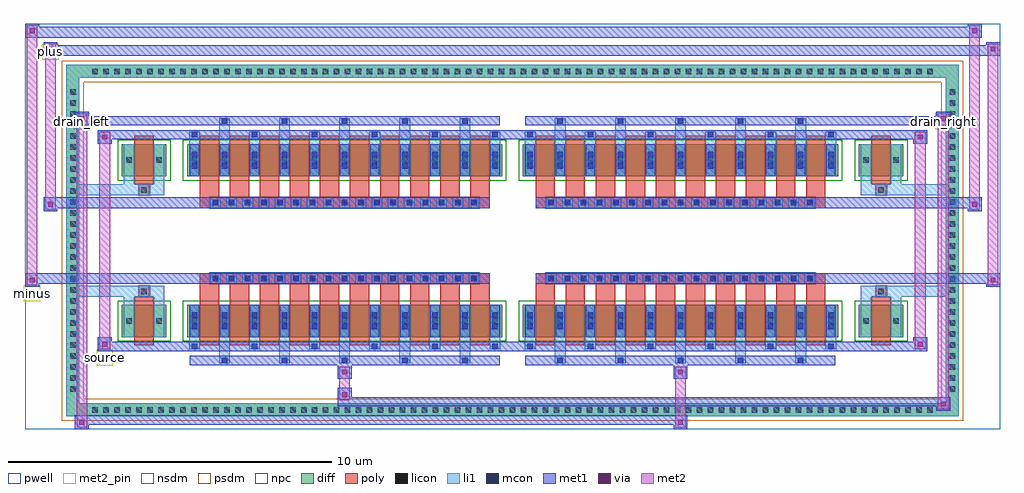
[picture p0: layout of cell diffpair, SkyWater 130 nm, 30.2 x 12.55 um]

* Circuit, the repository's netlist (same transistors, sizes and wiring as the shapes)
* NGSPICE file created from diffpair.ext - technology: sky130A

.subckt diffpair minus drain_right drain_left source plus
X0 drain_left plus source a_n2762_n1088# sky130_fd_pr__nfet_01v8 ad=0.165 pd=1.33 as=0.39 ps=2.78 w=1 l=0.6
X1 a_n2762_n1088# a_n2762_n1088# a_n2762_n1088# a_n2762_n1088# sky130_fd_pr__nfet_01v8 ad=0.39 pd=2.78 as=3.12 ps=22.24 w=1 l=0.6
X2 drain_left plus source a_n2762_n1088# sky130_fd_pr__nfet_01v8 ad=0.165 pd=1.33 as=0.165 ps=1.33 w=1 l=0.6
X3 source plus drain_left a_n2762_n1088# sky130_fd_pr__nfet_01v8 ad=0.165 pd=1.33 as=0.165 ps=1.33 w=1 l=0.6
X4 drain_left plus source a_n2762_n1088# sky130_fd_pr__nfet_01v8 ad=0.165 pd=1.33 as=0.165 ps=1.33 w=1 l=0.6
X5 source minus drain_right a_n2762_n1088# sky130_fd_pr__nfet_01v8 ad=0.39 pd=2.78 as=0.165 ps=1.33 w=1 l=0.6
X6 source plus drain_left a_n2762_n1088# sky130_fd_pr__nfet_01v8 ad=0.165 pd=1.33 as=0.165 ps=1.33 w=1 l=0.6
X7 source plus drain_left a_n2762_n1088# sky130_fd_pr__nfet_01v8 ad=0.165 pd=1.33 as=0.165 ps=1.33 w=1 l=0.6
X8 drain_right minus source a_n2762_n1088# sky130_fd_pr__nfet_01v8 ad=0.165 pd=1.33 as=0.165 ps=1.33 w=1 l=0.6
X9 drain_left plus source a_n2762_n1088# sky130_fd_pr__nfet_01v8 ad=0.165 pd=1.33 as=0.165 ps=1.33 w=1 l=0.6
X10 source minus drain_right a_n2762_n1088# sky130_fd_pr__nfet_01v8 ad=0.165 pd=1.33 as=0.165 ps=1.33 w=1 l=0.6
X11 drain_right minus source a_n2762_n1088# sky130_fd_pr__nfet_01v8 ad=0.165 pd=1.33 as=0.165 ps=1.33 w=1 l=0.6
X12 drain_right minus source a_n2762_n1088# sky130_fd_pr__nfet_01v8 ad=0.165 pd=1.33 as=0.165 ps=1.33 w=1 l=0.6
X13 drain_right minus source a_n2762_n1088# sky130_fd_pr__nfet_01v8 ad=0.165 pd=1.33 as=0.165 ps=1.33 w=1 l=0.6
X14 source minus drain_right a_n2762_n1088# sky130_fd_pr__nfet_01v8 ad=0.165 pd=1.33 as=0.165 ps=1.33 w=1 l=0.6
X15 source minus drain_right a_n2762_n1088# sky130_fd_pr__nfet_01v8 ad=0.165 pd=1.33 as=0.165 ps=1.33 w=1 l=0.6
X16 source plus drain_left a_n2762_n1088# sky130_fd_pr__nfet_01v8 ad=0.39 pd=2.78 as=0.165 ps=1.33 w=1 l=0.6
X17 a_n2762_n1088# a_n2762_n1088# a_n2762_n1088# a_n2762_n1088# sky130_fd_pr__nfet_01v8 ad=0.39 pd=2.78 as=0 ps=0 w=1 l=0.6
X18 a_n2762_n1088# a_n2762_n1088# a_n2762_n1088# a_n2762_n1088# sky130_fd_pr__nfet_01v8 ad=0.39 pd=2.78 as=0 ps=0 w=1 l=0.6
X19 source minus drain_right a_n2762_n1088# sky130_fd_pr__nfet_01v8 ad=0.165 pd=1.33 as=0.165 ps=1.33 w=1 l=0.6
X20 drain_right minus source a_n2762_n1088# sky130_fd_pr__nfet_01v8 ad=0.165 pd=1.33 as=0.165 ps=1.33 w=1 l=0.6
X21 source plus drain_left a_n2762_n1088# sky130_fd_pr__nfet_01v8 ad=0.165 pd=1.33 as=0.165 ps=1.33 w=1 l=0.6
X22 source plus drain_left a_n2762_n1088# sky130_fd_pr__nfet_01v8 ad=0.165 pd=1.33 as=0.165 ps=1.33 w=1 l=0.6
X23 source minus drain_right a_n2762_n1088# sky130_fd_pr__nfet_01v8 ad=0.165 pd=1.33 as=0.165 ps=1.33 w=1 l=0.6
X24 drain_right minus source a_n2762_n1088# sky130_fd_pr__nfet_01v8 ad=0.165 pd=1.33 as=0.165 ps=1.33 w=1 l=0.6
X25 drain_left plus source a_n2762_n1088# sky130_fd_pr__nfet_01v8 ad=0.165 pd=1.33 as=0.39 ps=2.78 w=1 l=0.6
X26 drain_left plus source a_n2762_n1088# sky130_fd_pr__nfet_01v8 ad=0.165 pd=1.33 as=0.165 ps=1.33 w=1 l=0.6
X27 source minus drain_right a_n2762_n1088# sky130_fd_pr__nfet_01v8 ad=0.165 pd=1.33 as=0.165 ps=1.33 w=1 l=0.6
X28 drain_left plus source a_n2762_n1088# sky130_fd_pr__nfet_01v8 ad=0.165 pd=1.33 as=0.165 ps=1.33 w=1 l=0.6
X29 source plus drain_left a_n2762_n1088# sky130_fd_pr__nfet_01v8 ad=0.165 pd=1.33 as=0.165 ps=1.33 w=1 l=0.6
X30 drain_right minus source a_n2762_n1088# sky130_fd_pr__nfet_01v8 ad=0.165 pd=1.33 as=0.39 ps=2.78 w=1 l=0.6
X31 drain_right minus source a_n2762_n1088# sky130_fd_pr__nfet_01v8 ad=0.165 pd=1.33 as=0.39 ps=2.78 w=1 l=0.6
X32 drain_left plus source a_n2762_n1088# sky130_fd_pr__nfet_01v8 ad=0.165 pd=1.33 as=0.165 ps=1.33 w=1 l=0.6
X33 drain_left plus source a_n2762_n1088# sky130_fd_pr__nfet_01v8 ad=0.165 pd=1.33 as=0.165 ps=1.33 w=1 l=0.6
X34 source plus drain_left a_n2762_n1088# sky130_fd_pr__nfet_01v8 ad=0.39 pd=2.78 as=0.165 ps=1.33 w=1 l=0.6
X35 source minus drain_right a_n2762_n1088# sky130_fd_pr__nfet_01v8 ad=0.165 pd=1.33 as=0.165 ps=1.33 w=1 l=0.6
X36 source plus drain_left a_n2762_n1088# sky130_fd_pr__nfet_01v8 ad=0.165 pd=1.33 as=0.165 ps=1.33 w=1 l=0.6
X37 source minus drain_right a_n2762_n1088# sky130_fd_pr__nfet_01v8 ad=0.165 pd=1.33 as=0.165 ps=1.33 w=1 l=0.6
X38 drain_right minus source a_n2762_n1088# sky130_fd_pr__nfet_01v8 ad=0.165 pd=1.33 as=0.165 ps=1.33 w=1 l=0.6
X39 source plus drain_left a_n2762_n1088# sky130_fd_pr__nfet_01v8 ad=0.165 pd=1.33 as=0.165 ps=1.33 w=1 l=0.6
X40 drain_right minus source a_n2762_n1088# sky130_fd_pr__nfet_01v8 ad=0.165 pd=1.33 as=0.165 ps=1.33 w=1 l=0.6
X41 source minus drain_right a_n2762_n1088# sky130_fd_pr__nfet_01v8 ad=0.39 pd=2.78 as=0.165 ps=1.33 w=1 l=0.6
X42 a_n2762_n1088# a_n2762_n1088# a_n2762_n1088# a_n2762_n1088# sky130_fd_pr__nfet_01v8 ad=0.39 pd=2.78 as=0 ps=0 w=1 l=0.6
X43 drain_left plus source a_n2762_n1088# sky130_fd_pr__nfet_01v8 ad=0.165 pd=1.33 as=0.165 ps=1.33 w=1 l=0.6
.ends

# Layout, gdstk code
import gdstk
lib = gdstk.Library(unit=1e-6, precision=5e-09)
def R(c, l, rs):  # rectangles x0, y0, x1, y1
    for r in rs: c.add(gdstk.rectangle(r[:2], r[2:], *l))
def A(c, l, x, y, w, h, nx, ny, dx, dy):  # array of equal rectangles
    R(c, l, [(x+i*dx, y+j*dy, x+i*dx+w, y+j*dy+h) for i in range(nx) for j in range(ny)])
def P(c, l, *ps):  # polygons
    for p in ps: c.add(gdstk.Polygon(p, *l))
pwell = (64, 44)
diff = (65, 20)
poly = (66, 20)
licon = (66, 44)
li1 = (67, 20)
mcon = (67, 44)
met1 = (68, 20)
via = (68, 44)
met2_pin = (69, 16)
met2 = (69, 20)
nsdm = (93, 44)
psdm = (94, 20)
npc = (95, 20)

diffpair = lib.new_cell('diffpair')
R(diffpair, pwell, [(-15.08,-5.84,15.08,6.71), (-12.4,-4.03,-0.01,-0.805), (0.01,-4.03,12.4,-0.805), (-12.4,0.805,-0.01,4.03), (0.01,0.805,12.4,4.03)])
A(diffpair, diff, -13.125, -5.44, 0.41, 0.41, 77, 2, 0.34, 10.47)
A(diffpair, diff, -13.81, -4.795, 0.41, 0.41, 1, 28, 0, 0.34)
A(diffpair, diff, 13.4, -4.795, 0.41, 0.41, 1, 28, 0, 0.34)
R(diffpair, diff, [(-13.125,-5.44,13.125,-5.03), (-13.81,-4.795,-13.4,4.795), (13.4,-4.795,13.81,4.795), (-12.09,-2.985,-10.71,-1.985), (-10.07,-2.985,-0.32,-1.985), (0.32,-2.985,10.07,-1.985), (10.71,-2.985,12.09,-1.985), (-12.09,1.985,-10.71,2.985), (-10.07,1.985,-0.32,2.985), (0.32,1.985,10.07,2.985), (10.71,1.985,12.09,2.985), (-13.125,5.03,13.125,5.44)])
P(diffpair, diff, [(13.81,5.44),(-13.81,5.44),(-13.81,-5.03),(-13.4,-5.03),(-13.4,5.03),(13.4,5.03),(13.4,-5.03),(-13.4,-5.03),(-13.81,-5.03),(-13.81,-5.44),(13.81,-5.44)])
A(diffpair, poly, -9.68, -3.235, 0.6, 1.5, 10, 2, 0.93, 4.97)
A(diffpair, poly, 0.71, -3.235, 0.6, 1.5, 10, 2, 0.93, 4.97)
A(diffpair, poly, -9.68, -1.735, 0.6, 0.4, 10, 2, 0.93, 3.07)
A(diffpair, poly, 0.71, -1.735, 0.6, 0.4, 10, 2, 0.93, 3.07)
A(diffpair, poly, -9.36, -1.335, 0.33, 0.33, 17, 2, 0.5, 2.34)
A(diffpair, poly, 1.03, -1.335, 0.33, 0.33, 17, 2, 0.5, 2.34)
R(diffpair, poly, [(-11.7,-3.235,-11.1,-1.735), (11.1,-3.235,11.7,-1.735), (-11.565,-1.735,-11.235,-1.405), (-11.565,-1.735,-11.235,-1.405), (11.235,-1.735,11.565,-1.405), (11.235,-1.735,11.565,-1.405), (-9.68,-1.335,-0.71,-1.005), (0.71,-1.335,9.68,-1.005), (-9.68,1.005,-0.71,1.335), (0.71,1.005,9.68,1.335), (-11.565,1.405,-11.235,1.735), (-11.565,1.405,-11.235,1.735), (11.235,1.405,11.565,1.735), (11.235,1.405,11.565,1.735), (-11.7,1.735,-11.1,3.235), (11.1,1.735,11.7,3.235)])
A(diffpair, licon, -13.005, -5.32, 0.17, 0.17, 77, 2, 0.34, 10.47)
A(diffpair, licon, -13.69, -4.675, 0.17, 0.17, 1, 28, 0, 0.34)
A(diffpair, licon, 13.52, -4.675, 0.17, 0.17, 1, 28, 0, 0.34)
A(diffpair, licon, -9.93, -2.57, 0.17, 0.17, 11, 2, 0.93, 4.97)
A(diffpair, licon, 0.46, -2.57, 0.17, 0.17, 11, 2, 0.93, 4.97)
A(diffpair, licon, -9.28, -1.255, 0.17, 0.17, 17, 2, 0.5, 2.34)
A(diffpair, licon, 1.11, -1.255, 0.17, 0.17, 17, 2, 0.5, 2.34)
R(diffpair, licon, [(-11.95,-2.57,-11.78,-2.4), (-11.02,-2.57,-10.85,-2.4), (10.85,-2.57,11.02,-2.4), (11.78,-2.57,11.95,-2.4), (-11.485,-1.655,-11.315,-1.485), (11.315,-1.655,11.485,-1.485), (-11.485,1.485,-11.315,1.655), (11.315,1.485,11.485,1.655), (-11.95,2.4,-11.78,2.57), (-11.02,2.4,-10.85,2.57), (10.85,2.4,11.02,2.57), (11.78,2.4,11.95,2.57)])
A(diffpair, li1, -13.085, -5.4, 0.33, 0.33, 77, 2, 0.34, 10.47)
A(diffpair, li1, -13.77, -4.755, 0.33, 0.33, 1, 28, 0, 0.34)
A(diffpair, li1, 13.44, -4.755, 0.33, 0.33, 1, 28, 0, 0.34)
A(diffpair, li1, -9.08, -3.79, 0.33, 0.805, 5, 2, 1.86, 6.775)
A(diffpair, li1, -9, -3.79, 0.17, 0.17, 5, 2, 1.86, 7.41)
A(diffpair, li1, 1.31, -3.79, 0.33, 0.805, 5, 2, 1.86, 6.775)
A(diffpair, li1, 1.39, -3.79, 0.17, 0.17, 5, 2, 1.86, 7.41)
A(diffpair, li1, -10.01, -3.36, 0.33, 0.375, 6, 2, 1.86, 6.345)
A(diffpair, li1, -9.93, -3.36, 0.17, 0.17, 6, 2, 1.86, 6.55)
A(diffpair, li1, 0.38, -3.36, 0.33, 0.375, 6, 2, 1.86, 6.345)
A(diffpair, li1, 0.46, -3.36, 0.17, 0.17, 6, 2, 1.86, 6.55)
A(diffpair, li1, -10.01, -2.985, 0.33, 1, 11, 2, 0.93, 4.97)
A(diffpair, li1, 0.38, -2.985, 0.33, 1, 11, 2, 0.93, 4.97)
A(diffpair, li1, -9.93, -2.75, 0.17, 0.17, 11, 2, 0.93, 0.36)
A(diffpair, li1, -9.93, -2.75, 0.17, 0.53, 11, 2, 0.93, 4.97)
A(diffpair, li1, 0.46, -2.75, 0.17, 0.17, 11, 2, 0.93, 0.36)
A(diffpair, li1, 0.46, -2.75, 0.17, 0.53, 11, 2, 0.93, 4.97)
A(diffpair, li1, -10.01, -2.65, 0.33, 0.33, 11, 2, 0.93, 4.97)
A(diffpair, li1, 0.38, -2.65, 0.33, 0.33, 11, 2, 0.93, 4.97)
A(diffpair, li1, -9.36, -1.335, 0.33, 0.33, 17, 2, 0.5, 2.34)
A(diffpair, li1, 1.03, -1.335, 0.33, 0.33, 17, 2, 0.5, 2.34)
A(diffpair, li1, -9.93, 2.22, 0.17, 0.17, 11, 2, 0.93, 0.36)
A(diffpair, li1, 0.46, 2.22, 0.17, 0.17, 11, 2, 0.93, 0.36)
R(diffpair, li1, [(-13.81,-5.44,-13.4,-5.03), (-13.81,-5.44,-13.4,-5.03), (-13.4,-5.44,13.4,-5.03), (13.4,-5.44,13.81,-5.03), (13.4,-5.44,13.81,-5.03), (-13.81,-5.03,-13.4,5.03), (13.4,-5.03,13.81,5.03), (-12.03,-2.985,-11.7,-1.985), (-11.1,-2.985,-10.77,-1.985), (10.77,-2.985,11.1,-1.985), (11.7,-2.985,12.03,-1.985), (-12.03,-2.65,-11.7,-2.32), (-11.1,-2.65,-10.77,-2.32), (10.77,-2.65,11.1,-2.32), (11.7,-2.65,12.03,-2.32), (-12.03,-1.985,-11.7,-1.405), (-11.1,-1.985,-10.77,-1.405), (10.77,-1.985,11.1,-1.405), (11.7,-1.985,12.03,-1.405), (-13.81,-1.735,-11.565,-1.405), (-12.03,-1.735,-11.565,-1.405), (-11.565,-1.735,-11.235,-1.405), (-11.235,-1.735,-10.77,-1.405), (10.77,-1.735,11.235,-1.405), (11.235,-1.735,11.565,-1.405), (11.235,-1.735,13.81,-1.405), (11.565,-1.735,12.03,-1.405), (-13.81,1.405,-11.565,1.735), (-12.03,1.405,-11.565,1.735), (-12.03,1.405,-11.7,1.985), (-11.565,1.405,-11.235,1.735), (-11.235,1.405,-10.77,1.735), (-11.1,1.405,-10.77,1.985), (10.77,1.405,11.235,1.735), (10.77,1.405,11.1,1.985), (11.235,1.405,11.565,1.735), (11.235,1.405,13.81,1.735), (11.565,1.405,12.03,1.735), (11.7,1.405,12.03,1.985), (-12.03,1.985,-11.7,2.985), (-11.1,1.985,-10.77,2.985), (10.77,1.985,11.1,2.985), (11.7,1.985,12.03,2.985), (-12.03,2.32,-11.7,2.65), (-11.1,2.32,-10.77,2.65), (10.77,2.32,11.1,2.65), (11.7,2.32,12.03,2.65), (-13.81,5.03,-13.4,5.44), (-13.81,5.03,-13.4,5.44), (-13.4,5.03,13.4,5.44), (13.4,5.03,13.81,5.44), (13.4,5.03,13.81,5.44)])
A(diffpair, mcon, -9, -3.79, 0.17, 0.17, 5, 2, 1.86, 7.41)
A(diffpair, mcon, 1.39, -3.79, 0.17, 0.17, 5, 2, 1.86, 7.41)
A(diffpair, mcon, -9.93, -3.36, 0.17, 0.17, 6, 2, 1.86, 6.55)
A(diffpair, mcon, 0.46, -3.36, 0.17, 0.17, 6, 2, 1.86, 6.55)
A(diffpair, mcon, -9.93, -2.75, 0.17, 0.17, 11, 2, 0.93, 0.36)
A(diffpair, mcon, 0.46, -2.75, 0.17, 0.17, 11, 2, 0.93, 0.36)
A(diffpair, mcon, -9.28, -1.255, 0.17, 0.17, 17, 2, 0.5, 2.34)
A(diffpair, mcon, 1.11, -1.255, 0.17, 0.17, 17, 2, 0.5, 2.34)
A(diffpair, mcon, -9.93, 2.22, 0.17, 0.17, 11, 2, 0.93, 0.36)
A(diffpair, mcon, 0.46, 2.22, 0.17, 0.17, 11, 2, 0.93, 0.36)
A(diffpair, met1, -9.06, -3.85, 0.29, 0.29, 5, 2, 1.86, 7.41)
A(diffpair, met1, 1.33, -3.85, 0.29, 0.29, 5, 2, 1.86, 7.41)
A(diffpair, met1, -9.99, -3.42, 0.29, 0.29, 6, 2, 1.86, 6.55)
A(diffpair, met1, 0.4, -3.42, 0.29, 0.29, 6, 2, 1.86, 6.55)
A(diffpair, met1, -9.99, -2.985, 0.29, 1, 11, 2, 0.93, 4.97)
A(diffpair, met1, 0.4, -2.985, 0.29, 1, 11, 2, 0.93, 4.97)
A(diffpair, met1, -9.99, -2.81, 0.29, 0.29, 11, 2, 0.93, 0.36)
A(diffpair, met1, 0.4, -2.81, 0.29, 0.29, 11, 2, 0.93, 0.36)
A(diffpair, met1, -9.34, -1.315, 0.29, 0.29, 17, 2, 0.5, 2.34)
A(diffpair, met1, 1.05, -1.315, 0.29, 0.29, 17, 2, 0.5, 2.34)
A(diffpair, met1, -9.99, 2.16, 0.29, 0.29, 11, 2, 0.93, 0.36)
A(diffpair, met1, 0.4, 2.16, 0.29, 0.29, 11, 2, 0.93, 0.36)
R(diffpair, met1, [(-13.54,-5.84,-13.11,-5.41), (4.98,-5.84,5.41,-5.41), (-13.54,-5.7,5.41,-5.41), (13.11,-5.27,13.54,-4.84), (-5.41,-5.13,13.54,-4.84), (-5.41,-4.99,-4.98,-4.56), (-5.41,-4.28,-4.98,-3.85), (4.98,-4.28,5.41,-3.85), (-9.99,-3.85,-0.4,-3.56), (0.4,-3.85,9.99,-3.56), (-12.83,-3.42,-12.4,-2.99), (-12.83,-3.42,-9.99,-3.13), (-9.99,-3.42,-0.4,-3.13), (-0.4,-3.42,0.4,-3.13), (0.4,-3.42,9.99,-3.13), (9.99,-3.42,12.83,-3.13), (12.4,-3.42,12.83,-2.99), (-15.08,-1.435,-14.65,-1.005), (14.65,-1.435,15.08,-1.005), (-15.08,-1.335,-0.71,-1.005), (-9.68,-1.335,-0.71,-1.005), (0.71,-1.335,9.68,-1.005), (0.71,-1.335,15.08,-1.005), (-14.51,0.905,-14.08,1.335), (14.08,0.905,14.51,1.335), (-14.51,1.005,-9.68,1.335), (-9.68,1.005,-0.71,1.335), (0.71,1.005,9.68,1.335), (9.68,1.005,14.51,1.335), (-12.83,2.99,-12.4,3.42), (12.4,2.99,12.83,3.42), (-12.83,3.13,-9.99,3.42), (-9.99,3.13,-0.4,3.42), (-0.4,3.13,0.4,3.42), (0.4,3.13,9.99,3.42), (9.99,3.13,12.83,3.42), (-13.54,3.56,-13.11,3.99), (-13.54,3.56,-9.99,3.85), (-9.99,3.56,-0.4,3.85), (0.4,3.56,9.99,3.85), (9.99,3.56,13.54,3.85), (13.11,3.56,13.54,3.99), (-14.51,5.71,-14.08,6.14), (-14.51,5.71,-12.4,6.04), (-12.4,5.71,12.4,6.04), (12.4,5.71,15.08,6.04), (14.65,5.71,15.08,6.14), (-15.08,6.28,-14.65,6.71), (-15.08,6.28,-12.4,6.61), (-12.4,6.28,12.4,6.61), (12.4,6.28,14.51,6.61), (14.08,6.28,14.51,6.71)])
R(diffpair, via, [(-13.4,-5.7,-13.25,-5.55), (5.12,-5.7,5.27,-5.55), (13.25,-5.13,13.4,-4.98), (-5.27,-4.85,-5.12,-4.7), (-5.27,-4.14,-5.12,-3.99), (5.12,-4.14,5.27,-3.99), (-12.69,-3.28,-12.54,-3.13), (12.54,-3.28,12.69,-3.13), (-14.94,-1.295,-14.79,-1.145), (14.79,-1.295,14.94,-1.145), (-14.37,1.045,-14.22,1.195), (14.22,1.045,14.37,1.195), (-12.69,3.13,-12.54,3.28), (12.54,3.13,12.69,3.28), (-13.4,3.7,-13.25,3.85), (13.25,3.7,13.4,3.85), (-14.37,5.85,-14.22,6), (14.79,5.85,14.94,6), (-14.94,6.42,-14.79,6.57), (14.22,6.42,14.37,6.57)])
R(diffpair, met2_pin, [(-12.865,-3.87,-12.365,-3.37), (-15.115,-1.885,-14.615,-1.385), (-13.575,3.44,-13.075,3.94), (13.075,3.44,13.575,3.94), (-14.545,5.59,-14.045,6.09)])
R(diffpair, met2, [(-13.49,-5.79,-13.16,-5.46), (-13.49,-5.79,-13.16,3.94), (5.03,-5.79,5.36,-5.46), (5.03,-5.46,5.36,-4.23), (13.16,-5.22,13.49,-4.89), (13.16,-5.22,13.49,3.94), (-5.36,-4.94,-5.03,-4.61), (-5.36,-4.61,-5.03,-4.23), (-5.36,-4.23,-5.03,-3.9), (5.03,-4.23,5.36,-3.9), (-12.78,-3.37,-12.45,-3.04), (-12.78,-3.37,-12.45,3.37), (12.45,-3.37,12.78,-3.04), (12.45,-3.37,12.78,3.37), (-15.03,-1.385,-14.7,-1.055), (-15.03,-1.385,-14.7,6.66), (14.7,-1.385,15.03,-1.055), (14.7,-1.385,15.03,6.09), (-14.46,0.955,-14.13,1.285), (-14.46,0.955,-14.13,6.09), (14.13,0.955,14.46,1.285), (14.13,0.955,14.46,6.66), (-12.78,3.04,-12.45,3.37), (12.45,3.04,12.78,3.37), (-13.49,3.61,-13.16,3.94), (13.16,3.61,13.49,3.94), (-14.46,5.76,-14.13,6.09), (14.7,5.76,15.03,6.09), (-15.03,6.33,-14.7,6.66), (14.13,6.33,14.46,6.66)])
P(diffpair, met2, [(15.03,-1.385),(15.03,-1.385),(15.03,-1.055),(15.03,-1.055)],
  [(15.03,5.76),(15.03,5.76),(15.03,6.09),(15.03,6.09)],
  [(-14.7,-1.385),(-14.7,-1.385),(-14.7,-1.055),(-14.7,-1.055)],
  [(-14.7,6.33),(-14.7,6.33),(-14.7,6.66),(-14.7,6.66)],
  [(14.46,0.955),(14.46,0.955),(14.46,1.285),(14.46,1.285)],
  [(14.46,6.33),(14.46,6.33),(14.46,6.66),(14.46,6.66)],
  [(-14.13,0.955),(-14.13,0.955),(-14.13,1.285),(-14.13,1.285)],
  [(-14.13,5.76),(-14.13,5.76),(-14.13,6.09),(-14.13,6.09)],
  [(-13.16,-5.79),(-13.16,-5.79),(-13.16,-5.46),(-13.16,-5.46)],
  [(-13.16,3.61),(-13.16,3.61),(-13.16,3.94),(-13.16,3.94)],
  [(13.49,-5.22),(13.49,-5.22),(13.49,-4.89),(13.49,-4.89)],
  [(13.49,3.61),(13.49,3.61),(13.49,3.94),(13.49,3.94)],
  [(-12.45,-3.37),(-12.45,-3.37),(-12.45,-3.04),(-12.45,-3.04)],
  [(-12.45,3.04),(-12.45,3.04),(-12.45,3.37),(-12.45,3.37)],
  [(12.78,-3.37),(12.78,-3.37),(12.78,-3.04),(12.78,-3.04)],
  [(12.78,3.04),(12.78,3.04),(12.78,3.37),(12.78,3.37)])
R(diffpair, nsdm, [(-12.22,-3.115,-10.58,-1.855), (-10.2,-3.115,-0.19,-1.855), (0.19,-3.115,10.2,-1.855), (10.58,-3.115,12.22,-1.855), (-12.22,1.855,-10.58,3.115), (-10.2,1.855,-0.19,3.115), (0.19,1.855,10.2,3.115), (10.58,1.855,12.22,3.115)])
P(diffpair, psdm, [(13.94,5.57),(-13.94,5.57),(-13.94,-4.9),(-13.27,-4.9),(-13.27,4.9),(13.27,4.9),(13.27,-4.9),(-13.27,-4.9),(-13.94,-4.9),(-13.94,-5.57),(13.94,-5.57)])
A(diffpair, npc, -9.38, -1.355, 0.37, 0.37, 17, 2, 0.5, 2.34)
A(diffpair, npc, 1.01, -1.355, 0.37, 0.37, 17, 2, 0.5, 2.34)
R(diffpair, npc, [(-11.585,-1.755,-11.215,-1.385), (11.215,-1.755,11.585,-1.385), (-9.38,-1.355,-8.51,-0.985), (-9.38,-1.355,-8.51,-0.985), (-8.88,-1.355,-8.01,-0.985), (-8.88,-1.355,-8.01,-0.985), (-8.38,-1.355,-7.51,-0.985), (-8.38,-1.355,-7.51,-0.985), (-7.88,-1.355,-7.01,-0.985), (-7.88,-1.355,-7.01,-0.985), (-7.38,-1.355,-6.51,-0.985), (-7.38,-1.355,-6.51,-0.985), (-6.88,-1.355,-6.01,-0.985), (-6.88,-1.355,-6.01,-0.985), (-6.38,-1.355,-5.51,-0.985), (-6.38,-1.355,-5.51,-0.985), (-5.88,-1.355,-5.01,-0.985), (-5.88,-1.355,-5.01,-0.985), (-5.38,-1.355,-4.51,-0.985), (-5.38,-1.355,-4.51,-0.985), (-4.88,-1.355,-4.01,-0.985), (-4.88,-1.355,-4.01,-0.985), (-4.38,-1.355,-3.51,-0.985), (-4.38,-1.355,-3.51,-0.985), (-3.88,-1.355,-3.01,-0.985), (-3.88,-1.355,-3.01,-0.985), (-3.38,-1.355,-2.51,-0.985), (-3.38,-1.355,-2.51,-0.985), (-2.88,-1.355,-2.01,-0.985), (-2.88,-1.355,-2.01,-0.985), (-2.38,-1.355,-1.51,-0.985), (-2.38,-1.355,-1.51,-0.985), (-1.88,-1.355,-1.01,-0.985), (-1.88,-1.355,-1.01,-0.985), (1.01,-1.355,1.88,-0.985), (1.01,-1.355,1.88,-0.985), (1.51,-1.355,2.38,-0.985), (1.51,-1.355,2.38,-0.985), (2.01,-1.355,2.88,-0.985), (2.01,-1.355,2.88,-0.985), (2.51,-1.355,3.38,-0.985), (2.51,-1.355,3.38,-0.985), (3.01,-1.355,3.88,-0.985), (3.01,-1.355,3.88,-0.985), (3.51,-1.355,4.38,-0.985), (3.51,-1.355,4.38,-0.985), (4.01,-1.355,4.88,-0.985), (4.01,-1.355,4.88,-0.985), (4.51,-1.355,5.38,-0.985), (4.51,-1.355,5.38,-0.985), (5.01,-1.355,5.88,-0.985), (5.01,-1.355,5.88,-0.985), (5.51,-1.355,6.38,-0.985), (5.51,-1.355,6.38,-0.985), (6.01,-1.355,6.88,-0.985), (6.01,-1.355,6.88,-0.985), (6.51,-1.355,7.38,-0.985), (6.51,-1.355,7.38,-0.985), (7.01,-1.355,7.88,-0.985), (7.01,-1.355,7.88,-0.985), (7.51,-1.355,8.38,-0.985), (7.51,-1.355,8.38,-0.985), (8.01,-1.355,8.88,-0.985), (8.01,-1.355,8.88,-0.985), (8.51,-1.355,9.38,-0.985), (8.51,-1.355,9.38,-0.985), (-9.38,0.985,-8.51,1.355), (-9.38,0.985,-8.51,1.355), (-8.88,0.985,-8.01,1.355), (-8.88,0.985,-8.01,1.355), (-8.38,0.985,-7.51,1.355), (-8.38,0.985,-7.51,1.355), (-7.88,0.985,-7.01,1.355), (-7.88,0.985,-7.01,1.355), (-7.38,0.985,-6.51,1.355), (-7.38,0.985,-6.51,1.355), (-6.88,0.985,-6.01,1.355), (-6.88,0.985,-6.01,1.355), (-6.38,0.985,-5.51,1.355), (-6.38,0.985,-5.51,1.355), (-5.88,0.985,-5.01,1.355), (-5.88,0.985,-5.01,1.355), (-5.38,0.985,-4.51,1.355), (-5.38,0.985,-4.51,1.355), (-4.88,0.985,-4.01,1.355), (-4.88,0.985,-4.01,1.355), (-4.38,0.985,-3.51,1.355), (-4.38,0.985,-3.51,1.355), (-3.88,0.985,-3.01,1.355), (-3.88,0.985,-3.01,1.355), (-3.38,0.985,-2.51,1.355), (-3.38,0.985,-2.51,1.355), (-2.88,0.985,-2.01,1.355), (-2.88,0.985,-2.01,1.355), (-2.38,0.985,-1.51,1.355), (-2.38,0.985,-1.51,1.355), (-1.88,0.985,-1.01,1.355), (-1.88,0.985,-1.01,1.355), (1.01,0.985,1.88,1.355), (1.01,0.985,1.88,1.355), (1.51,0.985,2.38,1.355), (1.51,0.985,2.38,1.355), (2.01,0.985,2.88,1.355), (2.01,0.985,2.88,1.355), (2.51,0.985,3.38,1.355), (2.51,0.985,3.38,1.355), (3.01,0.985,3.88,1.355), (3.01,0.985,3.88,1.355), (3.51,0.985,4.38,1.355), (3.51,0.985,4.38,1.355), (4.01,0.985,4.88,1.355), (4.01,0.985,4.88,1.355), (4.51,0.985,5.38,1.355), (4.51,0.985,5.38,1.355), (5.01,0.985,5.88,1.355), (5.01,0.985,5.88,1.355), (5.51,0.985,6.38,1.355), (5.51,0.985,6.38,1.355), (6.01,0.985,6.88,1.355), (6.01,0.985,6.88,1.355), (6.51,0.985,7.38,1.355), (6.51,0.985,7.38,1.355), (7.01,0.985,7.88,1.355), (7.01,0.985,7.88,1.355), (7.51,0.985,8.38,1.355), (7.51,0.985,8.38,1.355), (8.01,0.985,8.88,1.355), (8.01,0.985,8.88,1.355), (8.51,0.985,9.38,1.355), (8.51,0.985,9.38,1.355), (-11.585,1.385,-11.215,1.755), (11.215,1.385,11.585,1.755)])
diffpair.add(gdstk.Label('minus', (-14.865,-1.635), layer=69, texttype=5))
diffpair.add(gdstk.Label('drain_right', (13.325,3.69), layer=69, texttype=5))
diffpair.add(gdstk.Label('drain_left', (-13.325,3.69), layer=69, texttype=5))
diffpair.add(gdstk.Label('source', (-12.615,-3.62), layer=69, texttype=5))
diffpair.add(gdstk.Label('plus', (-14.295,5.84), layer=69, texttype=5))

lib.write_gds('diffpair.gds')
